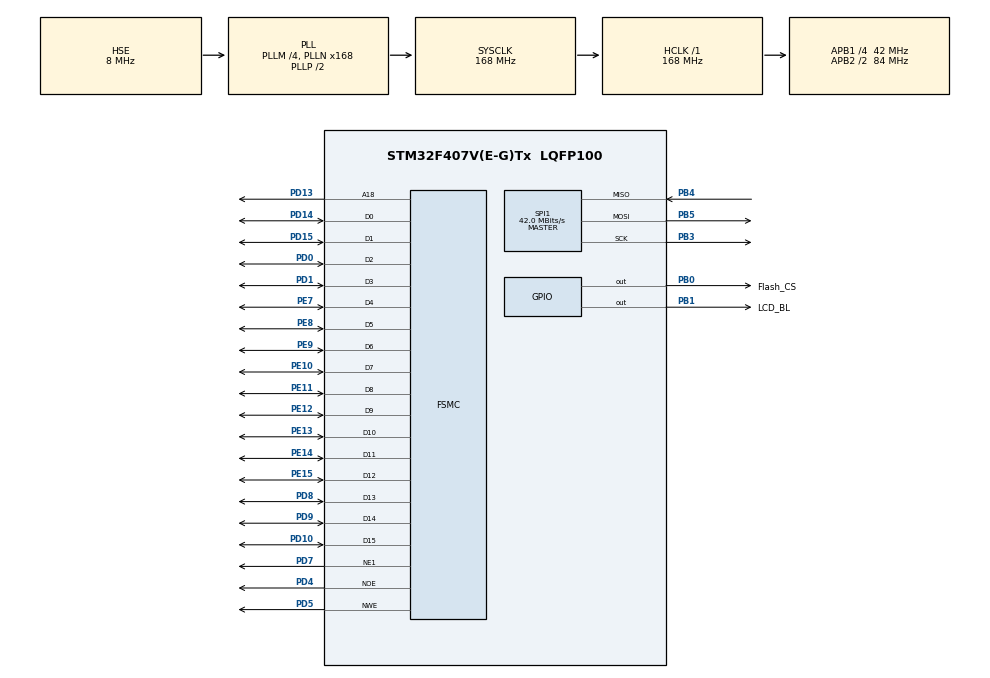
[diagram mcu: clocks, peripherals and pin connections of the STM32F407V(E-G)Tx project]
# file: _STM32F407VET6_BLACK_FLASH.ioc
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FSMC.BusTurnAroundDuration1=0
FSMC.DataSetupTime1=60
FSMC.ExtendedAddressSetupTime1=9
FSMC.ExtendedBusTurnAroundDuration1=0
FSMC.ExtendedDataSetupTime1=8
FSMC.ExtendedMode1=FSMC_EXTENDED_MODE_ENABLE
Mcu.Family=STM32F4
Mcu.Name=STM32F407V(E-G)Tx
Mcu.Package=LQFP100
NVIC.PriorityGroup=NVIC_PRIORITYGROUP_4
PA13.Mode=Serial_Wire
PA13.Signal=SYS_JTMS-SWDIO
PA14.Mode=Serial_Wire
PA14.Signal=SYS_JTCK-SWCLK
PB0.GPIO_Label=Flash_CS
PB0.GPIO_Speed=GPIO_SPEED_FREQ_VERY_HIGH
PB0.Signal=GPIO_Output
PB1.GPIO_Label=LCD_BL
PB1.Signal=GPIO_Output
PB3.Mode=Full_Duplex_Master
PB3.Signal=SPI1_SCK
PB4.Mode=Full_Duplex_Master
PB4.Signal=SPI1_MISO
PB5.Mode=Full_Duplex_Master
PB5.Signal=SPI1_MOSI
PD0.Mode=16b-d1
PD0.Signal=FSMC_D2
PD1.Mode=16b-d1
PD1.Signal=FSMC_D3
PD10.Mode=16b-d1
PD10.Signal=FSMC_D15
PD13.Mode=A18_1
PD13.Signal=FSMC_A18
PD14.Mode=16b-d1
PD14.Signal=FSMC_D0
PD15.Mode=16b-d1
PD15.Signal=FSMC_D1
PD4.Mode=Lcd1
PD4.Signal=FSMC_NOE
PD5.Mode=Lcd1
PD5.Signal=FSMC_NWE
PD7.Mode=NorPsramChipSelect1_1
PD7.Signal=FSMC_NE1
PD8.Mode=16b-d1
PD8.Signal=FSMC_D13
PD9.Mode=16b-d1
PD9.Signal=FSMC_D14
PE10.Mode=16b-d1
PE10.Signal=FSMC_D7
PE11.Mode=16b-d1
PE11.Signal=FSMC_D8
PE12.Mode=16b-d1
PE12.Signal=FSMC_D9
PE13.Mode=16b-d1
PE13.Signal=FSMC_D10
PE14.Mode=16b-d1
PE14.Signal=FSMC_D11
PE15.Mode=16b-d1
PE15.Signal=FSMC_D12
PE7.Mode=16b-d1
PE7.Signal=FSMC_D4
PE8.Mode=16b-d1
PE8.Signal=FSMC_D5
PE9.Mode=16b-d1
PE9.Signal=FSMC_D6
PH0-OSC_IN.Mode=HSE-External-Oscillator
PH0-OSC_IN.Signal=RCC_OSC_IN
PH1-OSC_OUT.Mode=HSE-External-Oscillator
PH1-OSC_OUT.Signal=RCC_OSC_OUT
ProjectManager.HeapSize=0x400
ProjectManager.StackSize=0x800
ProjectManager.TargetToolchain=STM32CubeIDE
RCC.48MHZClocksFreq_Value=48000000
RCC.AHBFreq_Value=168000000
RCC.APB1CLKDivider=RCC_HCLK_DIV4
RCC.APB1Freq_Value=42000000
RCC.APB1TimFreq_Value=84000000
RCC.APB2CLKDivider=RCC_HCLK_DIV2
RCC.APB2Freq_Value=84000000
RCC.APB2TimFreq_Value=168000000
RCC.CortexFreq_Value=168000000
RCC.HCLKFreq_Value=168000000
RCC.HSE_VALUE=8000000
RCC.HSI_VALUE=16000000
RCC.LSE_VALUE=32768
RCC.PLLM=4
RCC.PLLN=168
RCC.PLLQ=7
RCC.PLLSourceVirtual=RCC_PLLSOURCE_HSE
RCC.SYSCLKFreq_VALUE=168000000
RCC.SYSCLKSource=RCC_SYSCLKSOURCE_PLLCLK
RCC.VCOOutputFreq_Value=336000000
SPI1.CalculateBaudRate=42.0 MBits/s
SPI1.Direction=SPI_DIRECTION_2LINES
SPI1.Mode=SPI_MODE_MASTER
SPI1.VirtualType=VM_MASTER
VP_CRC_VS_CRC.Mode=CRC_Activate
VP_RNG_VS_RNG.Mode=RNG_Activate
VP_TIM6_VS_ClockSourceINT.Mode=Enable_Timer
board=custom

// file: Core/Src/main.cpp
/* USER CODE BEGIN Header */
/**
 ******************************************************************************
 * @file           : main.c
 * @brief          : Main program body
 ******************************************************************************
 * @attention
 *
 * Copyright (c) 2023 STMicroelectronics.
 * All rights reserved.
 *
 * This software is licensed under terms that can be found in the LICENSE file
 * in the root directory of this software component.
 * If no LICENSE file comes with this software, it is provided AS-IS.
 *
 ******************************************************************************
 */
/* USER CODE END Header */
#include "main.h"

/* USER CODE BEGIN Includes */
#include "ili9341.h"
#include "w25qxx.h"
//#include "laki.h"
#include "pic07.h"
/* USER CODE END Includes */

/* USER CODE BEGIN PTD */

#define laki_count   1024*150/2
#define size_laki    1024*150

/* USER CODE END PTD */

CRC_HandleTypeDef hcrc;

RNG_HandleTypeDef hrng;

SPI_HandleTypeDef hspi1;

TIM_HandleTypeDef htim6;

SRAM_HandleTypeDef hsram1;

void SystemClock_Config(void);
static void MX_GPIO_Init(void);
static void MX_FSMC_Init(void);
static void MX_RNG_Init(void);
static void MX_TIM6_Init(void);
static void MX_CRC_Init(void);
static void MX_SPI1_Init(void);
/* USER CODE BEGIN PFP */
uint16_t part[44032];
/* USER CODE END PFP */

/* USER CODE BEGIN 0 */

void lcd_setup_picture(uint8_t pic_nr)
{
    uint8_t dana ;
    uint16_t x, y;
    lcdOrientationTypeDef dana2;

    lcdOrientationTypeDef setup_pic[] = {
            LCD_ORIENTATION_LANDSCAPE,
            LCD_ORIENTATION_PORTRAIT_MIRROR,
            LCD_ORIENTATION_PORTRAIT,
            LCD_ORIENTATION_LANDSCAPE_MIRROR,
            LCD_ORIENTATION_LANDSCAPE_MIRROR,
            LCD_ORIENTATION_LANDSCAPE,
            LCD_ORIENTATION_LANDSCAPE,
            LCD_ORIENTATION_LANDSCAPE,
            LCD_ORIENTATION_LANDSCAPE,
            LCD_ORIENTATION_LANDSCAPE,
            LCD_ORIENTATION_LANDSCAPE
            };

    dana = pic_nr;
    if (dana > 10) {dana =0;}
    dana2 =  setup_pic[dana];
    lcdSetOrientation(dana2);

    x=319;
    y=239;

    if((dana2 == LCD_ORIENTATION_PORTRAIT  ) || (dana2 == LCD_ORIENTATION_PORTRAIT_MIRROR))
    {
        y=319;
        x=239;
    }
    lcdSetWindow(0, 0, x, y);

}

void showPic(uint8_t pic_nr)
{

    uint32_t index=0;
    lcd_setup_picture(pic_nr);

    while (index<= laki_count)
    {
        LCD_DataWrite(laki[index]);
        index++;
    }
}

void readPicFromFlash(uint8_t pic_nr){

#define rest_pic (150*1024 - 131072)
#define rest0  rest_pic / 2
#define  CCM_ADDRESS   0x10000000UL

    uint32_t i, blk_nr;
    uint16_t * CCM_ADD  = (uint16_t *) CCM_ADDRESS;

    lcd_setup_picture(pic_nr);
    blk_nr = pic_nr*3;

    W25qxx_ReadBlock((uint8_t*)CCM_ADD, blk_nr+0, 0,w25qxx.BlockSize);
    W25qxx_ReadBlock((uint8_t*)&part[0], blk_nr+1, 0,w25qxx.BlockSize);
    W25qxx_ReadBlock((uint8_t*)&part[32768], blk_nr+2, 0, rest_pic);

    for(i=0;i<32768;i++)
    {
        LCD_DataWrite(CCM_ADD[i]);
    }

    for(i=0;i<44032;i++)
    {
        LCD_DataWrite(part[i]);
    }

//    for(i2=0; i2<2; i2++)
//    {
//        W25qxx_ReadBlock((uint8_t*)&part[0], blk_nr+i2, 0,w25qxx.BlockSize);
//        for(i=0;i<32768;i++)
//        {
//            LCD_DataWrite(part[i]);
//        }
//    }
//
//
//    W25qxx_ReadBlock((uint8_t*)&part[0], blk_nr+i2, 0, rest_pic);
//    for(i=0;i<rest0;i++)
//    {
//        LCD_DataWrite(part[i]);
//    }

}

void savePicToFlash(uint8_t pic_nr){
    uint8_t block;
    uint32_t index=0;
    uint32_t laki_size =  sizeof(laki);
    block = pic_nr * 3;

    W25qxx_EraseBlock(block);
    W25qxx_EraseBlock(block+1);
    W25qxx_EraseBlock(block+2);

    W25qxx_WriteBlock((uint8_t*)&laki[index], block, 0,w25qxx.BlockSize);index+=65536/2;
    W25qxx_WriteBlock((uint8_t*)&laki[index], block+1, 0,w25qxx.BlockSize);index+=65536/2;
    W25qxx_WriteBlock((uint8_t*)&laki[index], block+2, 0,laki_size-(65536));index+=65536/2;
}

/* USER CODE END 0 */

int main(void)
{

    /* MCU Configuration--------------------------------------------------------*/

    /* Reset of all peripherals, Initializes the Flash interface and the Systick. */
    HAL_Init();

    /* Configure the system clock */
    SystemClock_Config();

    /* Initialize all configured peripherals */
    MX_GPIO_Init();
    MX_FSMC_Init();
    MX_RNG_Init();
    MX_TIM6_Init();
    MX_CRC_Init();
    MX_SPI1_Init();
    /* USER CODE BEGIN 2 */

    lcdInit();
    lcdBacklightOn();
    //lcdTest();

    /* USER CODE END 2 */

    /* Infinite loop */
    /* USER CODE BEGIN WHILE */

        lcdFillRGB(0);
        lcdHome();
        lcdSetTextFont(&Font16);
        lcdSetOrientation(LCD_ORIENTATION_LANDSCAPE);

//showPic(6);
//for(;;){};

        lcdPrintf("INIT OF SPI FLASH W25Q16 :");
        if (W25qxx_Init()){
            lcdPrintf("OK\n");
            lcdPrintf("CHIP ID :%d\n",w25qxx.ID);
            lcdPrintf("SECTOR COUNT :%d\n",w25qxx.SectorCount);
            lcdPrintf("SECTOR SIZE :%d\n",w25qxx.SectorSize);
            lcdPrintf("BLOCK COUNT :%d\n",w25qxx.BlockCount);
            lcdPrintf("BLOCK SIZE :%d\n",w25qxx.BlockSize);
            lcdPrintf("PAGE COUNT :%d\n",w25qxx.PageCount);
            lcdPrintf("PAGE SIZE :%d\n",w25qxx.PageSize);

//savePicToFlash(6);
//readPicFromFlash(6);
            lcdPrintf("DATA EXIST IN EXT. FLASH\n");
            lcdPrintf("---------------------------\n");
            lcdPrintf("- ODCZYT Z EXT. SPI FLASH -\n");
            lcdPrintf("---------------------------\n");
//for(;;){}

        }
        else {
            lcdPrintf("ERROR\n");
            while(1);;
        }

        /* USER CODE END WHILE */

        while(1)
        {
            for(uint8_t pic_cnt = 0; pic_cnt <7; pic_cnt++)
            {
                //lcdFillRGB(0);
                readPicFromFlash(pic_cnt);
                //HAL_Delay(3000);
            }
        }
    }

void SystemClock_Config(void)
{
    RCC_OscInitTypeDef RCC_OscInitStruct = {0};
    RCC_ClkInitTypeDef RCC_ClkInitStruct = {0};

    /** Configure the main internal regulator output voltage
     */
    __HAL_RCC_PWR_CLK_ENABLE();
    __HAL_PWR_VOLTAGESCALING_CONFIG(PWR_REGULATOR_VOLTAGE_SCALE1);

    /** Initializes the RCC Oscillators according to the specified parameters
     * in the RCC_OscInitTypeDef structure.
     */
    RCC_OscInitStruct.OscillatorType = RCC_OSCILLATORTYPE_HSE;
    RCC_OscInitStruct.HSEState = RCC_HSE_ON;
    RCC_OscInitStruct.PLL.PLLState = RCC_PLL_ON;
    RCC_OscInitStruct.PLL.PLLSource = RCC_PLLSOURCE_HSE;
    RCC_OscInitStruct.PLL.PLLM = 4;
    RCC_OscInitStruct.PLL.PLLN = 168;
    RCC_OscInitStruct.PLL.PLLP = RCC_PLLP_DIV2;
    RCC_OscInitStruct.PLL.PLLQ = 7;
    if (HAL_RCC_OscConfig(&RCC_OscInitStruct) != HAL_OK)
    {
        Error_Handler();
    }

    /** Initializes the CPU, AHB and APB buses clocks
     */
    RCC_ClkInitStruct.ClockType = RCC_CLOCKTYPE_HCLK|RCC_CLOCKTYPE_SYSCLK
            |RCC_CLOCKTYPE_PCLK1|RCC_CLOCKTYPE_PCLK2;
    RCC_ClkInitStruct.SYSCLKSource = RCC_SYSCLKSOURCE_PLLCLK;
    RCC_ClkInitStruct.AHBCLKDivider = RCC_SYSCLK_DIV1;
    RCC_ClkInitStruct.APB1CLKDivider = RCC_HCLK_DIV4;
    RCC_ClkInitStruct.APB2CLKDivider = RCC_HCLK_DIV2;

    if (HAL_RCC_ClockConfig(&RCC_ClkInitStruct, FLASH_LATENCY_5) != HAL_OK)
    {
        Error_Handler();
    }
}

static void MX_CRC_Init(void)
{

    hcrc.Instance = CRC;
    if (HAL_CRC_Init(&hcrc) != HAL_OK)
    {
        Error_Handler();
    }

}

static void MX_RNG_Init(void)
{

    hrng.Instance = RNG;
    if (HAL_RNG_Init(&hrng) != HAL_OK)
    {
        Error_Handler();
    }

}

static void MX_SPI1_Init(void)
{

    /* SPI1 parameter configuration*/
    hspi1.Instance = SPI1;
    hspi1.Init.Mode = SPI_MODE_MASTER;
    hspi1.Init.Direction = SPI_DIRECTION_2LINES;
    hspi1.Init.DataSize = SPI_DATASIZE_8BIT;
    hspi1.Init.CLKPolarity = SPI_POLARITY_LOW;
    hspi1.Init.CLKPhase = SPI_PHASE_1EDGE;
    hspi1.Init.NSS = SPI_NSS_SOFT;
    hspi1.Init.BaudRatePrescaler = SPI_BAUDRATEPRESCALER_2;
    hspi1.Init.FirstBit = SPI_FIRSTBIT_MSB;
    hspi1.Init.TIMode = SPI_TIMODE_DISABLE;
    hspi1.Init.CRCCalculation = SPI_CRCCALCULATION_DISABLE;
    hspi1.Init.CRCPolynomial = 10;
    if (HAL_SPI_Init(&hspi1) != HAL_OK)
    {
        Error_Handler();
    }

}

static void MX_TIM6_Init(void)
{

    TIM_MasterConfigTypeDef sMasterConfig = {0};

    htim6.Instance = TIM6;
    htim6.Init.Prescaler = 0;
    htim6.Init.CounterMode = TIM_COUNTERMODE_UP;
    htim6.Init.Period = 65535;
    htim6.Init.AutoReloadPreload = TIM_AUTORELOAD_PRELOAD_DISABLE;
    if (HAL_TIM_Base_Init(&htim6) != HAL_OK)
    {
        Error_Handler();
    }
    sMasterConfig.MasterOutputTrigger = TIM_TRGO_RESET;
    sMasterConfig.MasterSlaveMode = TIM_MASTERSLAVEMODE_DISABLE;
    if (HAL_TIMEx_MasterConfigSynchronization(&htim6, &sMasterConfig) != HAL_OK)
    {
        Error_Handler();
    }

}

static void MX_GPIO_Init(void)
{
    GPIO_InitTypeDef GPIO_InitStruct = {0};

    /* GPIO Ports Clock Enable */
    __HAL_RCC_GPIOH_CLK_ENABLE();
    __HAL_RCC_GPIOB_CLK_ENABLE();
    __HAL_RCC_GPIOE_CLK_ENABLE();
    __HAL_RCC_GPIOD_CLK_ENABLE();
    __HAL_RCC_GPIOA_CLK_ENABLE();

    /*Configure GPIO pin Output Level */
    HAL_GPIO_WritePin(GPIOB, Flash_CS_Pin|LCD_BL_Pin, GPIO_PIN_RESET);

    /*Configure GPIO pin : Flash_CS_Pin */
    GPIO_InitStruct.Pin = Flash_CS_Pin;
    GPIO_InitStruct.Mode = GPIO_MODE_OUTPUT_PP;
    GPIO_InitStruct.Pull = GPIO_NOPULL;
    GPIO_InitStruct.Speed = GPIO_SPEED_FREQ_VERY_HIGH;
    HAL_GPIO_Init(Flash_CS_GPIO_Port, &GPIO_InitStruct);

    /*Configure GPIO pin : LCD_BL_Pin */
    GPIO_InitStruct.Pin = LCD_BL_Pin;
    GPIO_InitStruct.Mode = GPIO_MODE_OUTPUT_PP;
    GPIO_InitStruct.Pull = GPIO_NOPULL;
    GPIO_InitStruct.Speed = GPIO_SPEED_FREQ_LOW;
    HAL_GPIO_Init(LCD_BL_GPIO_Port, &GPIO_InitStruct);

}

/* FSMC initialization function */
static void MX_FSMC_Init(void)
{

    FSMC_NORSRAM_TimingTypeDef Timing = {0};
    FSMC_NORSRAM_TimingTypeDef ExtTiming = {0};

    /** Perform the SRAM1 memory initialization sequence
     */
    hsram1.Instance = FSMC_NORSRAM_DEVICE;
    hsram1.Extended = FSMC_NORSRAM_EXTENDED_DEVICE;
    /* hsram1.Init */
    hsram1.Init.NSBank = FSMC_NORSRAM_BANK1;
    hsram1.Init.DataAddressMux = FSMC_DATA_ADDRESS_MUX_DISABLE;
    hsram1.Init.MemoryType = FSMC_MEMORY_TYPE_SRAM;
    hsram1.Init.MemoryDataWidth = FSMC_NORSRAM_MEM_BUS_WIDTH_16;
    hsram1.Init.BurstAccessMode = FSMC_BURST_ACCESS_MODE_DISABLE;
    hsram1.Init.WaitSignalPolarity = FSMC_WAIT_SIGNAL_POLARITY_LOW;
    hsram1.Init.WrapMode = FSMC_WRAP_MODE_DISABLE;
    hsram1.Init.WaitSignalActive = FSMC_WAIT_TIMING_BEFORE_WS;
    hsram1.Init.WriteOperation = FSMC_WRITE_OPERATION_ENABLE;
    hsram1.Init.WaitSignal = FSMC_WAIT_SIGNAL_DISABLE;
    hsram1.Init.ExtendedMode = FSMC_EXTENDED_MODE_ENABLE;
    hsram1.Init.AsynchronousWait = FSMC_ASYNCHRONOUS_WAIT_DISABLE;
    hsram1.Init.WriteBurst = FSMC_WRITE_BURST_DISABLE;
    hsram1.Init.PageSize = FSMC_PAGE_SIZE_NONE;
    /* Timing */
    Timing.AddressSetupTime = 15;
    Timing.AddressHoldTime = 15;
    Timing.DataSetupTime = 60;
    Timing.BusTurnAroundDuration = 0;
    Timing.CLKDivision = 16;
    Timing.DataLatency = 17;
    Timing.AccessMode = FSMC_ACCESS_MODE_A;
    /* ExtTiming */
    ExtTiming.AddressSetupTime = 9;
    ExtTiming.AddressHoldTime = 15;
    ExtTiming.DataSetupTime = 8;
    ExtTiming.BusTurnAroundDuration = 0;
    ExtTiming.CLKDivision = 16;
    ExtTiming.DataLatency = 17;
    ExtTiming.AccessMode = FSMC_ACCESS_MODE_A;

    if (HAL_SRAM_Init(&hsram1, &Timing, &ExtTiming) != HAL_OK)
    {
        Error_Handler( );
    }

}

void Error_Handler(void)
{
    __disable_irq();
    while (1)
    {
    }
}

unsigned long randomX(uint32_t min,uint32_t max) {

    while (!(RNG->SR & (RNG_SR_DRDY))); /* Wait until one RNG number is ready */
    return (uint32_t)((RNG->DR % (max - min + 1)) + min);                   /* Get a 32-bit Random number */
}
